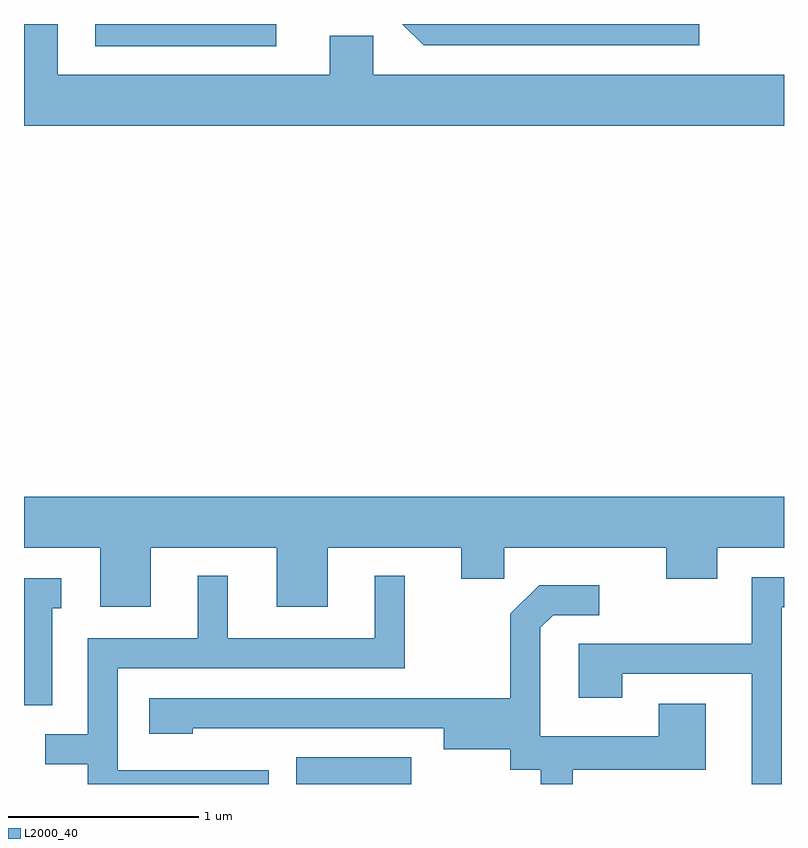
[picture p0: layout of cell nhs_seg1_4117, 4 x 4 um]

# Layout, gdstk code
import gdstk
lib = gdstk.Library(unit=1e-6, precision=1e-09)
def R(c, l, rs):  # rectangles x0, y0, x1, y1
    for r in rs: c.add(gdstk.rectangle(r[:2], r[2:], *l))
def P(c, l, *ps):  # polygons
    for p in ps: c.add(gdstk.Polygon(p, *l))
L2000_40 = (2000, 40)

nhs_seg1_4117 = lib.new_cell('nhs_seg1_4117')
R(nhs_seg1_4117, L2000_40, [(311.043,851.712,311.649,851.854), (309.986,855.596,310.939,855.712)])
P(nhs_seg1_4117, L2000_40, [(313.611,855.444),(311.449,855.444),(311.449,855.649),(311.221,855.649),(311.221,855.444),(309.789,855.444),(309.789,855.712),(309.611,855.712),(309.611,855.176),(313.611,855.176)],
  [(313.164,855.712),(311.603,855.712),(311.714,855.601),(313.164,855.601)],
  [(310.279,852.956),(310.941,852.956),(310.941,852.646),(311.209,852.646),(311.209,852.956),(311.911,852.956),(311.911,852.791),(312.139,852.791),(312.139,852.956),(312.991,852.956),(312.991,852.791),(313.259,852.791),(313.259,852.956),(313.611,852.956),(313.611,853.224),(309.611,853.224),(309.611,852.956),(310.011,852.956),(310.011,852.646),(310.279,852.646)],
  [(310.899,851.784),(310.104,851.784),(310.104,852.321),(311.614,852.321),(311.614,852.808),(311.456,852.808),(311.456,852.479),(310.684,852.479),(310.684,852.808),(310.526,852.808),(310.526,852.479),(309.946,852.479),(309.946,851.974),(309.723,851.974),(309.723,851.816),(309.946,851.816),(309.946,851.712),(310.899,851.712)],
  [(313.599,852.641),(313.611,852.641),(313.611,852.799),(313.441,852.799),(313.441,852.449),(312.531,852.449),(312.531,852.166),(312.759,852.166),(312.759,852.291),(313.441,852.291),(313.441,851.712),(313.599,851.712)],
  [(309.759,852.636),(309.808,852.636),(309.808,852.794),(309.611,852.794),(309.611,852.126),(309.759,852.126)],
  [(312.499,851.786),(313.199,851.786),(313.199,852.134),(312.951,852.134),(312.951,851.964),(312.329,851.964),(312.329,852.534),(312.397,852.601),(312.638,852.601),(312.638,852.759),(312.324,852.759),(312.171,852.607),(312.171,852.164),(310.271,852.164),(310.271,851.976),(310.499,851.976),(310.499,852.006),(311.821,852.006),(311.821,851.896),(312.171,851.896),(312.171,851.786),(312.331,851.786),(312.331,851.712),(312.499,851.712)])

lib.write_gds('nhs_seg1_4117.gds')
